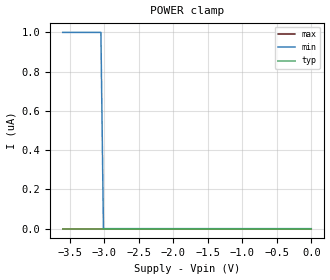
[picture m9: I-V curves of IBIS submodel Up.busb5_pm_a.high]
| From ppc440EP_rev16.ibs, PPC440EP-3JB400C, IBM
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[Submodel]  Up.busb5_pm_a.high
Submodel_type   Dynamic_clamp
[POWER Clamp]   | Note: Vtable = Vcc - Vout
| Voltage   I(typ)   I(min)   I(max)
-3.6V     0A         1uA        0A
-3.047V   0A         1uA        0A
-3.01V    0A         0A         0A
0V        0A         0A         0A
